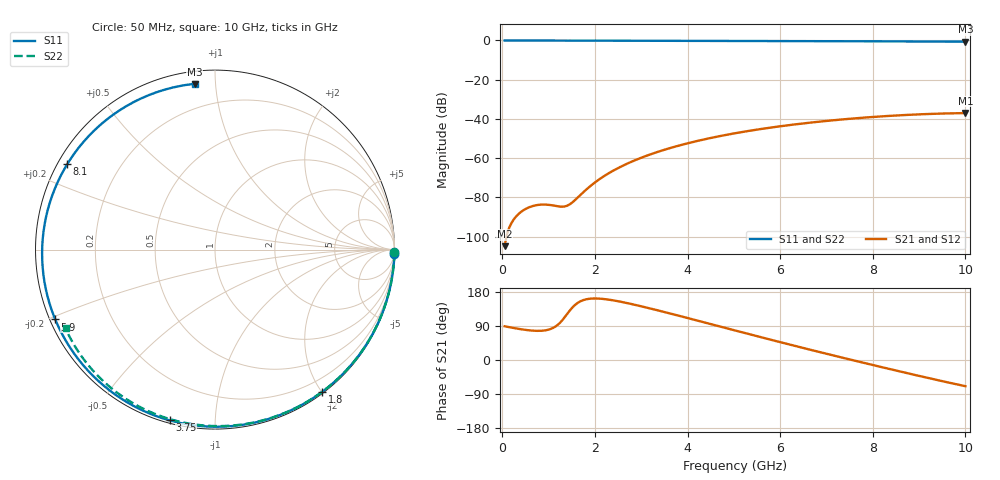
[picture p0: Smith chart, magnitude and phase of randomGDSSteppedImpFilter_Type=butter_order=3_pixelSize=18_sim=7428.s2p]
! freq	dB(S11)	phase(S11)	dB(S12)	phase(S12)
!  dB(S21)	phase(S21)	dB(S22)	phase(S22)
!S-par simulation data
#  GHz  S  DB  R 50
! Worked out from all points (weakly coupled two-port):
!   200 points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, 50 MHz to 10 GHz, reference 50 ohm
!   highest |S21| = -37.01 dB at 10 GHz (marker M1); lowest = -104.8 dB at 50 MHz (marker M2)
!   lowest |S11| = -0.6 dB at 10 GHz (marker M3), VSWR 27.73, Z = 3.21 + j44.1 ohm
!   |S11| at or under -10 dB: nowhere
!   |S22| runs from -0.5 to 0.0 dB; largest |S21 - S12| = 0
!   S11 on the Smith chart (normalised r, x): 50 MHz: 0, -75; 1.8 GHz: 0.02, -2.00; 3.75 GHz: 0.01, -0.77; 5.9 GHz: 0.02, -0.21; 8.1 GHz: 0.03, +0.27; 10 GHz: 0.06, +0.88
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0.05  -0.00 -1.5  -104.81 89.0  -104.81 89.0  -0.00 -0.9
0.4  -0.02 -12.1  -87.43 81.3  -87.43 81.3  -0.01 -7.0
0.8  -0.03 -24.0  -83.71 76.9  -83.71 76.9  -0.02 -13.9
1.6  -0.06 -47.4  -80.67 148.2  -80.67 148.2  -0.03 -27.5
1.65  -0.06 -48.8  -79.55 152.4  -79.55 152.4  -0.04 -28.4
1.75  -0.06 -51.7  -77.32 158.0  -77.32 158.0  -0.04 -30.1
1.8  -0.07 -53.1  -76.25 159.8  -76.25 159.8  -0.04 -30.9
2.1  -0.08 -61.5  -70.65 162.0  -70.65 162.0  -0.05 -35.9
2.45  -0.09 -71.1  -65.64 156.2  -65.64 156.2  -0.05 -41.7
2.9  -0.10 -83.1  -60.69 144.6  -60.69 144.6  -0.06 -49.1
3.4  -0.12 -96.0  -56.44 129.7  -56.44 129.7  -0.08 -57.1
3.75  -0.14 -104.9  -53.97 118.8  -53.97 118.8  -0.08 -62.6
4.35  -0.16 -119.6  -50.46 99.6  -50.46 99.6  -0.10 -71.9
5.05  -0.20 -136.4  -47.17 77.2  -47.17 77.2  -0.13 -82.5
5.9  -0.25 -156.4  -44.05 50.3  -44.05 50.3  -0.16 -94.9
6.7  -0.31 -175.3  -41.74 25.5  -41.74 25.5  -0.21 -106.2
7.4  -0.37 167.7  -40.11 4.5  -40.11 4.5  -0.25 -116.0
8.1  -0.44 150.0  -38.82 -16.2  -38.82 -16.2  -0.31 -125.6
8.35  -0.46 143.5  -38.44 -23.4  -38.44 -23.4  -0.33 -129.0
8.8  -0.51 131.5  -37.86 -36.3  -37.86 -36.3  -0.38 -135.2
9.25  -0.55 118.9  -37.42 -48.9  -37.42 -48.9  -0.43 -141.5
10  -0.63 97.1  -37.01 -69.2  -37.01 -69.2  -0.53 -152.2
